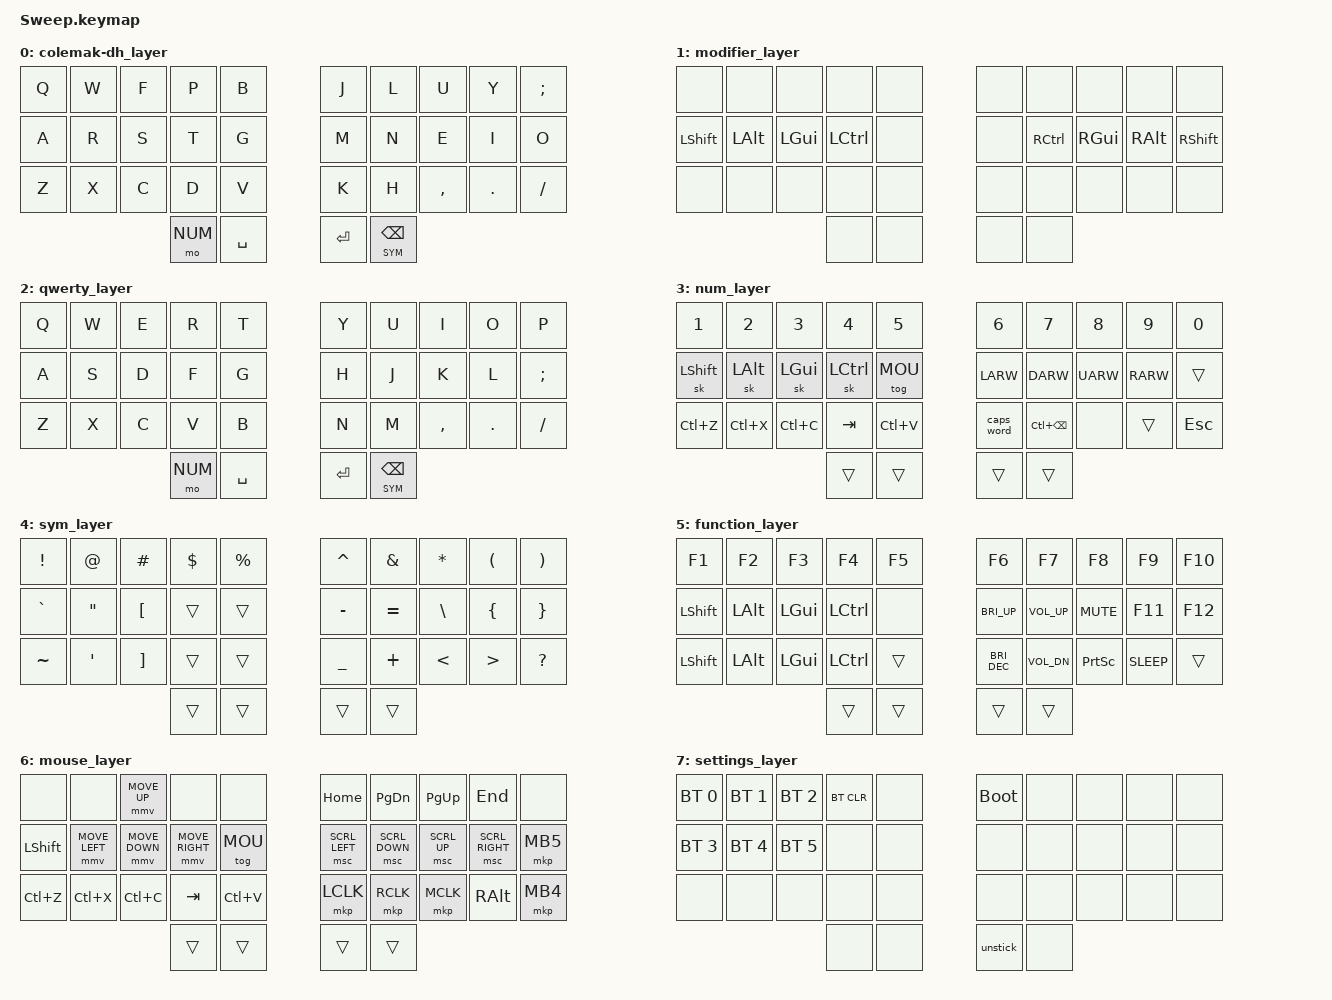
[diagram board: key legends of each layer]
// COPYright (c) 2025 The ZMK Contributors
// SPDX-License-Identifier: MIT
// Config by Xuân Trường 

#include <behaviors.dtsi>
#include <dt-bindings/zmk/keys.h>
#include <dt-bindings/zmk/bt.h>
#include <dt-bindings/zmk/mouse.h>

#define COL 0
#define MOD 1
#define QWE 2
#define NUM 3 
#define SYM 4 
#define FUN 5 
#define MOU 6
#define SET 7

/ {
    macros {
        unstick: unstick {
            label = "ZM_unstick";
            compatible = "zmk,behavior-macro";
            #binding-cells = <0>;
            bindings = <&kp LSHIFT &kp RSHIFT &kp LCTRL &kp RCTRL 
                        &kp LALT &kp RALT &kp LGUI &kp RGUI>;
        };
    };

    behaviors {
        sk {
            release-after-ms = <2000>;
            quick-release;
        };

        caps_word {
            continue-list = <UNDERSCORE MINUS BACKSPACE DELETE>;
        };

        lt_custom: layer_tap_custom {
            compatible = "zmk,behavior-hold-tap";
            #binding-cells = <2>;
            flavor = "balanced";
            tapping-term-ms = <160>;
            quick-tap-ms = <150>;
            require-prior-idle-ms = <50>;
            bindings = <&mo>, <&kp>;
        };
    };

    combos {
        /*
        | 0  | 1  | 2  | 3  | 4  |      | 5  | 6  | 7  | 8  | 9  |
        | 10 | 11 | 12 | 13 | 14 |      | 15 | 16 | 17 | 18 | 19 |
        | 20 | 21 | 22 | 23 | 24 |      | 25 | 26 | 27 | 28 | 29 |
                       | 30 | 31 |      | 32 | 33 |
        */
        compatible = "zmk,combos";

        combo_esc_kl {
            timeout-ms = <50>;
            key-positions = <17 18>;
            bindings = <&kp ESC>;
            layers = <QWE MOU COL>;
        };
       
        combo_settings {
            timeout-ms = <300>;
            key-positions = <30 31>;
            bindings = <&mo SET>;
        };

        combo_to_qwerty {
            timeout-ms = <50>;
            key-positions = <18 19>;
            bindings = <&to QWE>;
            layers = <COL>;
        };

        combo_to_colemak {
            timeout-ms = <50>;
            key-positions = <18 19>;
            bindings = <&to COL>;
            layers = <QWE>;
        };

        /* combo_modifier_right { */
        /*     timeout-ms = <50>; */
        /*     key-positions =<28 29>; */
        /*     bindings = <&sl MOD>; */
        /*     layers = <COL QWE>; */
        /* }; */

        /* combo_modifier_left { */
        /*     timeout-ms = <50>; */
        /*     key-positions =<20 21>; */
        /*     bindings = <&sl MOD>; */
        /*     layers = <COL QWE>; */
        /* }; */
    };

    conditional_layers {
        compatible = "zmk,conditional-layers";
        tri_layer {
            if-layers = <SYM NUM>;
            then-layer = <FUN>; 
        };
    };

    mouse {
        compatible = "zmk,mouse";
        mousekey-delay-ms = <0>;
        mousekey-interval-ms = <16>;
        mousekey-move-delta = <3>;
        mousekey-initial-speed = <400>;
        mousekey-decelerated-speed = <600>;
        mousekey-max-speed = <900>;
        mousekey-wheel-interval-ms = <40>;
        mousekey-wheel-max-speed = <6>;
    };
    
    keymap {
        compatible = "zmk,keymap";

        colemak-dh_layer {
            // Base (Colemak-DH)
            // ┌─────┬─────┬─────┬─────┬─────┐   ┌─────┬─────┬─────┬─────┬─────┐
            // │  Q  │  W  │  F  │  P  │  B  │   │  J  │  L  │  U  │  Y  │  ;  │
            // ├─────┼─────┼─────┼─────┼─────┤   ├─────┼─────┼─────┼─────┼─────┤
            // │  A  │  R  │  S  │  T  │  G  │   │  M  │  N  │  E  │  I  │  O  │
            // │     │     │     │     │     │   │     │     │    ESC   QWE    │
            // ├─────┼─────┼─────┼─────┼─────┤   ├─────┼─────┼─────┼─────┼─────┤
            // │  Z  │  X  │  C  │  D  │  V  │   │  K  │  H  │  ,  │  .  │  /  │
            // │  MODIFIER │     │     │     │   │     │     │     │  MODIFIER │
            // └─────┴─────┴─────┼─────┼─────┤   ├─────┼─────┼─────┴─────┴─────┘
            //                   │ NUM │SPACE│   │ENTER│BSPC │
            //                   │     │     │   │     │ SYM │
            //                   └─────┴─────┘   └─────┴─────┘            
            bindings = <
            &kp Q  &kp W  &kp F  &kp P  &kp B       &kp J  &kp L     &kp U     &kp Y    &kp SEMI
            &kp A  &kp R  &kp S  &kp T  &kp G       &kp M  &kp N     &kp E     &kp I    &kp O
            &kp Z  &kp X  &kp C  &kp D  &kp V       &kp K  &kp H     &kp COMMA &kp DOT  &kp FSLH
                               &mo NUM  &kp SPACE   &kp ENTER   &lt_custom SYM BSPC
            >;
        };

        modifier_layer {
            // ┌─────┬─────┬─────┬─────┬─────┐   ┌─────┬─────┬─────┬─────┬─────┐
            // │     │     │     │     │     │   │     │     │     │     │     │
            // ├─────┼─────┼─────┼─────┼─────┤   ├─────┼─────┼─────┼─────┼─────┤
            // │SHIFT│ ALT │ GUI │ CTRL│     │   │     │ CTRL│ GUI │ ALT │SHIFT│
            // ├─────┼─────┼─────┼─────┼─────┤   ├─────┼─────┼─────┼─────┼─────┤
            // │     │     │     │     │     │   │     │     │     │     │     │
            // └─────┴─────┴─────┼─────┼─────┤   ├─────┼─────┼─────┴─────┴─────┘
            //                   │     │     │   │     │     │
            //                   └─────┴─────┘   └─────┴─────┘
            bindings = <
            &none   &none    &none   &none  &none     &none   &none   &none   &none   &none
            &kp LSHIFT &kp LALT  &kp LGUI  &kp LCTRL  &none   &none   &kp RCTRL  &kp RGUI  &kp RALT  &kp RSHIFT
            &none   &none    &none   &none  &none     &none   &none   &none   &none   &none
                                     &none  &none     &none   &none
            >;
        };

        qwerty_layer {
            // Base (QWERTY)
            // ┌─────┬─────┬─────┬─────┬─────┐   ┌─────┬─────┬─────┬─────┬─────┐
            // │  Q  │  W  │  E  │  R  │  T  │   │  Y  │  U  │  I  │  O  │  P  │
            // ├─────┼─────┼─────┼─────┼─────┤   ├─────┼─────┼─────┼─────┼─────┤
            // │  A  │  S  │  D  │  F  │  G  │   │  H  │  J  │  K  │  L  │  ;  │
            // │     │     │     │     │     │   │     │     │    ESC   COL    │
            // ├─────┼─────┼─────┼─────┼─────┤   ├─────┼─────┼─────┼─────┼─────┤
            // │  Z  │  X  │  C  │  V  │  B  │   │  N  │  M  │  ,  │  .  │  /  │
            // │  MODIFIER │     │     │     │   │     │     │     │  MODIFIER │
            // └─────┴─────┴─────┼─────┼─────┤   ├─────┼─────┼─────┴─────┴─────┘
            //                   │ NUM │SPACE│   │ENTER│BSPC │
            //                   │     │     │   │     │ SYM │
            //                   └─────┴─────┘   └─────┴─────┘
            bindings = <
            &kp Q  &kp W  &kp E  &kp R  &kp T       &kp Y  &kp U     &kp I     &kp O    &kp P
            &kp A  &kp S  &kp D  &kp F  &kp G       &kp H  &kp J     &kp K     &kp L    &kp SEMI
            &kp Z  &kp X  &kp C  &kp V  &kp B       &kp N  &kp M     &kp COMMA &kp DOT  &kp FSLH
                                &mo NUM &kp SPACE   &kp ENTER &lt_custom SYM BSPC
            >;
        };

        num_layer {
            // NUM (Numbers + Nav + Edit)
            // ┌─────┬─────┬─────┬─────┬─────┐   ┌─────┬─────┬─────┬─────┬─────┐
            // │  1  │  2  │  3  │  4  │  5  │   │  6  │  7  │  8  │  9  │  0  │
            // ├─────┼─────┼─────┼─────┼─────┤   ├─────┼─────┼─────┼─────┼─────┤
            // │ SFT*│ ALT*│ GUI*│ CTL*│ MOU │   │  ←  │  ↓  │  ↑  │  →  │     │
            // ├─────┼─────┼─────┼─────┼─────┤   ├─────┼─────┼─────┼─────┼─────┤
            // │UNDO │ CUT │COPY │ TAB │PAST │   │CAPSW│  ⌫  │     │     │ ESC │
            // └─────┴─────┴─────┼─────┼─────┤   ├─────┼─────┼─────┴─────┴─────┘
            //        (* STICKY) │     │     │   │     │     │
            //                   └─────┴─────┘   └─────┴─────┘
            bindings = <
            &kp N1     &kp N2    &kp N3    &kp N4    &kp N5       &kp N6      &kp N7       &kp N8    &kp N9   &kp N0
            &sk LSHIFT &sk LALT  &sk LGUI  &sk LCTRL &tog MOU     &kp LARW    &kp DARW     &kp UARW  &kp RARW &trans
            &kp LC(Z)  &kp LC(X) &kp LC(C) &kp TAB   &kp LC(V)    &caps_word  &kp LC(BSPC) &none     &trans   &kp ESC 
                                           &trans   &trans        &trans      &trans
            >;
        };

        sym_layer {
            // SYM (Symbols)
            // ┌─────┬─────┬─────┬─────┬─────┐   ┌─────┬─────┬─────┬─────┬─────┐
            // │  !  │  @  │  #  │  $  │  %  │   │  ^  │  &  │  *  │  (  │  )  │
            // ├─────┼─────┼─────┼─────┼─────┤   ├─────┼─────┼─────┼─────┼─────┤
            // │  `  │  "  │  [  │     │     │   │  -  │  =  │  \  │  {  │  }  │
            // ├─────┼─────┼─────┼─────┼─────┤   ├─────┼─────┼─────┼─────┼─────┤
            // │  ~  │  '  │  ]  │     │     │   │  _  │  +  │  <  │  >  │  ?  │
            // └─────┴─────┴─────┼─────┼─────┤   ├─────┼─────┼─────┴─────┴─────┘
            //                   │     │     │   │     │     │
            //                   └─────┴─────┘   └─────┴─────┘
            bindings = <
            &kp EXCL  &kp AT   &kp HASH &kp DLLR &kp PRCNT    &kp CARET &kp AMPS  &kp ASTRK &kp LPAR &kp RPAR
            &kp GRAVE &kp DQT  &kp LBKT &trans   &trans       &kp MINUS &kp EQUAL &kp BSLH  &kp LBRC &kp RBRC
            &kp TILDE &kp SQT  &kp RBKT &trans   &trans       &kp UNDER &kp PLUS  &kp LT    &kp GT   &kp QMARK
                                        &trans   &trans       &trans    &trans
            >;
        };
            
        function_layer {
            // FUN (Fn + Media)
            // ┌─────┬─────┬─────┬─────┬─────┐   ┌─────┬─────┬─────┬─────┬─────┐
            // │ F1  │ F2  │ F3  │ F4  │ F5  │   │ F6  │ F7  │ F8  │ F9  │ F10 │
            // ├─────┼─────┼─────┼─────┼─────┤   ├─────┼─────┼─────┼─────┼─────┤
            // │SHIFT│ ALT │ GUI │ CTRL│     │   │BRI+ │VOL+ │MUTE │ F11 │ F12 │
            // ├─────┼─────┼─────┼─────┼─────┤   ├─────┼─────┼─────┼─────┼─────┤
            // │SHIFT│ ALT │ GUI │ CTRL│     │   │BRI- │VOL- │PSCRN│SLEEP│     │
            // └─────┴─────┴─────┼─────┼─────┤   ├─────┼─────┼─────┴─────┴─────┘
            //                   │     │     │   │     │     │
            //                   └─────┴─────┘   └─────┴─────┘
            bindings = <
            &kp F1   &kp F2   &kp F3   &kp F4   &kp F5        &kp F6        &kp F7       &kp F8     &kp F9  &kp F10
            &kp LSHIFT &kp LALT &kp LGUI &kp LCTRL  &none     &kp C_BRI_UP  &kp C_VOL_UP &kp C_MUTE &kp F11 &kp F12
            &kp LSHIFT &kp LALT &kp LGUI &kp LCTRL  &trans    &kp C_BRI_DEC &kp C_VOL_DN &kp PSCRN  &kp C_SLEEP  &trans
                                           &trans   &trans    &trans        &trans
            >;
        };

        mouse_layer { 
            // MOU (Mouse)
            // ┌─────┬─────┬─────┬─────┬─────┐   ┌─────┬─────┬─────┬─────┬─────┐
            // │     │     │ M↑  │     │     │   │ HOM │PG_DN│PG_UP│ END │     │
            // ├─────┼─────┼─────┼─────┼─────┤   ├─────┼─────┼─────┼─────┼─────┤
            // │ SFT │ M←  │ M↓  │ M→  │ MOU │   │ S←  │ S↓  │ S↑  │ S→  │ MB5 │
            // ├─────┼─────┼─────┼─────┼─────┤   ├─────┼─────┼─────┼─────┼─────┤
            // │UNDO │ CUT │COPY │ TAB │PAST │   │LCLK │RCLK │MCLK │ ALT │ MB4 │
            // └─────┴─────┴─────┼─────┼─────┤   ├─────┼─────┼─────┴─────┴─────┘
            //                   │     │     │   │     │     │
            //                   └─────┴─────┘   └─────┴─────┘
            bindings = <
            &none      &none          &mmv MOVE_UP   &none           &none       &kp HOME       &kp PG_DN      &kp PG_UP    &kp END    &none
            &kp LSHIFT &mmv MOVE_LEFT &mmv MOVE_DOWN &mmv MOVE_RIGHT &tog MOU    &msc SCRL_LEFT &msc SCRL_DOWN &msc SCRL_UP &msc SCRL_RIGHT &mkp MB5
            &kp LC(Z)  &kp LC(X)      &kp LC(C)      &kp TAB         &kp LC(V)   &mkp LCLK      &mkp RCLK      &mkp MCLK    &kp RALT &mkp MB4
                                                     &trans          &trans      &trans         &trans
            >;
        };

        settings_layer {
            // SET (Bluetooth + Unstick)
            // ┌─────┬─────┬─────┬─────┬─────┐   ┌─────┬─────┬─────┬─────┬─────┐
            // │BT0  │BT1  │BT2  │BTCLR│     │   │BOOT │     │     │     │     │
            // ├─────┼─────┼─────┼─────┼─────┤   ├─────┼─────┼─────┼─────┼─────┤
            // │BT3  │BT4  │BT5  │     │     │   │     │     │     │     │     │
            // ├─────┼─────┼─────┼─────┼─────┤   ├─────┼─────┼─────┼─────┼─────┤
            // │     │     │     │     │     │   │     │     │     │     │     │
            // └─────┴─────┴─────┼─────┼─────┤   ├─────┼─────┼─────┴─────┴─────┘
            //                   │     │     │   │UNSTK│     │
            //                   └─────┴─────┘   └─────┴─────┘
            bindings = <
            &bt BT_SEL 0 &bt BT_SEL 1 &bt BT_SEL 2 &bt BT_CLR  &none        &bootloader  &none     &none     &none     &none
            &bt BT_SEL 3 &bt BT_SEL 4 &bt BT_SEL 5 &none       &none        &none        &none     &none     &none     &none
            &none        &none        &none        &none       &none        &none        &none     &none     &none     &none
                                                   &none       &none        &unstick     &none
            >;
        };
    };
};

